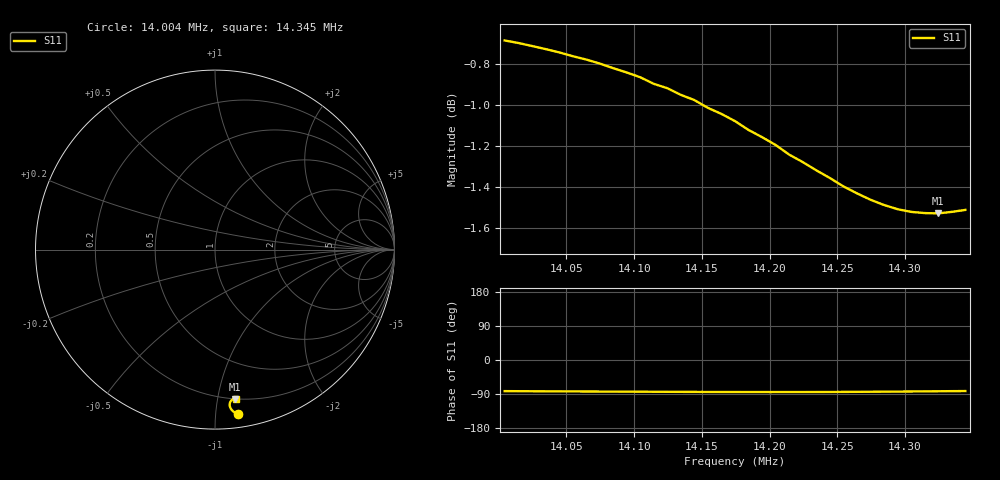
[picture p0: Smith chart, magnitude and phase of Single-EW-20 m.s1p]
# HZ S RI R 50
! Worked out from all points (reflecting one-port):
!   35 points, 14.004 MHz to 14.345 MHz, reference 50 ohm
!   lowest |S11| = -1.5 dB at 14.325 MHz (marker M1), VSWR 11.41, Z = 9.99 - j56 ohm
!   phase of S11 starts at -82 deg and turns +0 deg over the sweep
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1.40044e7  0.1262 -0.9154
1.403441e7  0.1181 -0.912
1.405442e7  0.1127 -0.9091
1.407443e7  0.1074 -0.9059
1.409444e7  0.102 -0.9019
1.410444e7  0.0994 -0.8998
1.411444e7  0.0966 -0.8967
1.412445e7  0.0945 -0.8947
1.413445e7  0.0919 -0.8917
1.414446e7  0.0901 -0.8892
1.415446e7  0.088 -0.8855
1.416446e7  0.0863 -0.8826
1.417447e7  0.0848 -0.8792
1.418447e7  0.0834 -0.8749
1.420448e7  0.0819 -0.8677
1.421448e7  0.0819 -0.863
1.422449e7  0.0821 -0.8593
1.423449e7  0.0828 -0.8553
1.42445e7  0.0842 -0.8514
1.42545e7  0.0859 -0.8472
1.42645e7  0.0881 -0.8437
1.427451e7  0.0909 -0.8403
1.428451e7  0.0941 -0.8375
1.429452e7  0.0976 -0.8351
1.430452e7  0.1015 -0.8334
1.431452e7  0.1057 -0.8323
1.432453e7  0.1098 -0.8316
1.434454e7  0.1179 -0.8321
